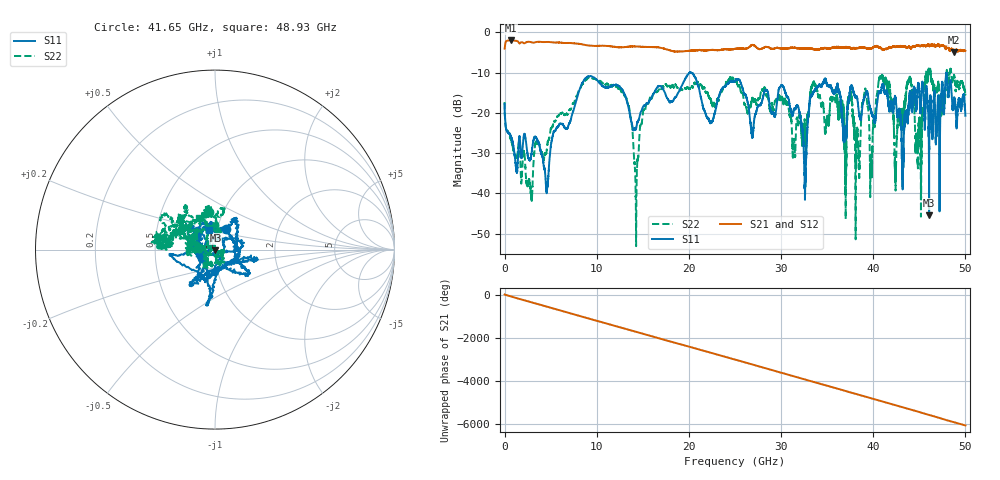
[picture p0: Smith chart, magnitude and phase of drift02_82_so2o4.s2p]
!Created with skrf (http://scikit-rf.org).
# Hz S RI R 50.0
!freq ReS11 ImS11 ReS21 ImS21 ReS12 ImS12 ReS22 ImS22
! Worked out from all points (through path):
!   10001 points, 300 kHz to 50 GHz, reference 50 ohm
!   highest |S21| = -1.99 dB at 645.3 MHz (marker M1); lowest = -4.9 dB at 48.77 GHz (marker M2)
!   group delay of S21, straight-line fit = 337 ps
!   lowest |S11| = -45.5 dB at 46.07 GHz (marker M3), VSWR 1.01, Z = 50.3 - j0.462 ohm
!   |S11| at or under -10 dB: start of sweep to 20.07 GHz; 20.20685 GHz to 20.22226 GHz (15.4 MHz wide, 0.0762 % of centre); 20.24 GHz to end of sweep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
!   |S22| runs from -53.1 to -9.0 dB; largest |S21 - S12| = 0.032
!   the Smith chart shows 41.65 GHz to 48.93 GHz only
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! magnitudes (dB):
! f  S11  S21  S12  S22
! 300 kHz  -17.8  -4.0  -4.0  -17.3
! 645.3 MHz  -25.7  -2.0  -2.0  -26.4
! 4.565 GHz  -39.8  -2.4  -2.4  -29.4
! 8.335 GHz  -13.0  -2.9  -2.9  -13.2
! 13.01 GHz  -15.3  -3.6  -3.6  -15.7
! 14.28 GHz  -23.8  -3.5  -3.5  -47.8
! 16.67 GHz  -13.3  -3.7  -3.7  -14.5
! 25 GHz  -12.1  -4.1  -4.1  -12.2
! 26.86 GHz  -25.7  -3.1  -3.1  -16.3
! 30.19 GHz  -13.3  -4.1  -4.1  -17.0
! 32.58 GHz  -37.5  -4.0  -4.0  -24.5
! 33.34 GHz  -15.7  -4.0  -4.1  -13.5
! 37.5 GHz  -14.3  -3.9  -3.8  -15.9
! 38.28 GHz  -16.7  -3.9  -3.9  -24.2
! 39.02 GHz  -16.4  -3.8  -3.8  -15.4
! 41.67 GHz  -18.1  -3.7  -3.9  -12.5
! 42.47 GHz  -17.0  -3.6  -3.6  -32.5
! 43.96 GHz  -15.3  -3.6  -3.7  -11.2
! 44.99 GHz  -14.7  -3.4  -3.3  -20.7
! 46.07 GHz  -45.5  -3.3  -3.3  -9.8
! 48.77 GHz  -17.0  -4.9  -4.8  -10.6
! 50 GHz  -20.7  -4.6  -4.6  -15.3
